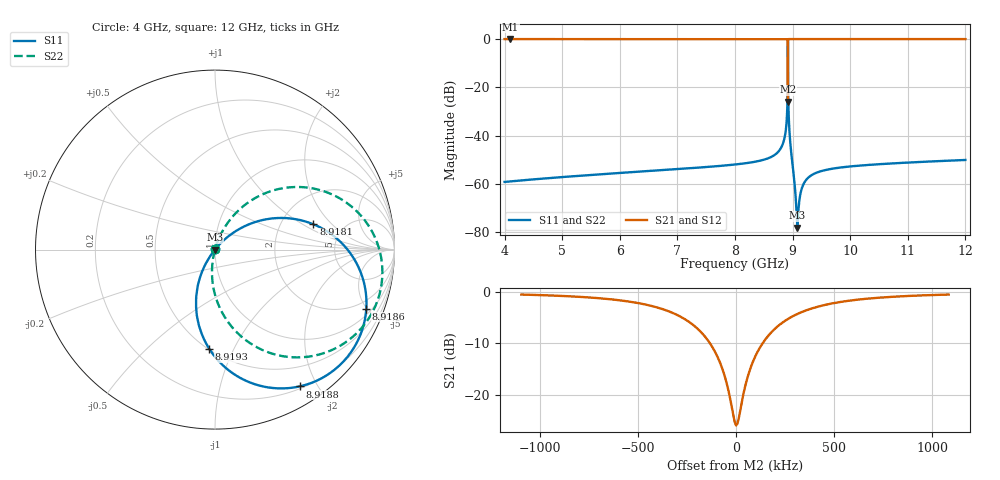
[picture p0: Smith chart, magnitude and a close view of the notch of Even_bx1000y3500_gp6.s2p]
! Sonnet Data File
! From: emgraph Version : 16.52
! From Emgraph Data: Resonator2
! Data File Written: 10/03/2017 17:29:13
!< HDATE 10/03/2017 16:44:45
!< MDATE 10/03/2017 16:44:45
!< PARAMS
!< gap = 6.0
!< Length = 400.0
!< END PARAMS
# GHZ S MA R 51.80000
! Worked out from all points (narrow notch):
!   918 points, 4 GHz to 12 GHz, reference 51.8 ohm
!   highest |S21| = 0.00 dB at 4.1 GHz (marker M1); lowest = -26.0 dB at 8.9187 GHz (marker M2)
!   notch at M2: 26.0 dB deep, 184 kHz wide at half that depth
!   lowest |S11| = -78.2 dB at 9.0824 GHz (marker M3), VSWR 1.00, Z = 51.8 + j0.00863 ohm
!   |S11| at or under -10 dB: start of sweep to 8.9175 GHz; 8.9198 GHz to end of sweep
!   |S22| runs from -78.3 to -0.4 dB; largest |S21 - S12| = 0
!   S11 on the Smith chart (normalised r, x): 4 GHz: 1.00, +0.00; 8.9181 GHz: 3.03, +1.26; 8.9186 GHz: 1.37, -4.96; 8.9188 GHz: 0.23, -1.77; 8.9193 GHz: 0.51, -0.81; 12 GHz: 1.00, +0.00
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4  0.001093 73.8  1 -12.2  1 -12.2  0.001093 81.7
!< P1 F=4.0 Eeff=(6.45006945 -2.975e-5) Z0=(51.809612 1.19486e-4) R=0.0 C=0.0
!< P2 F=4.0 Eeff=(6.45006945 -2.975e-5) Z0=(51.809612 1.19486e-4) R=0.0 C=0.0
4.1  0.001122 73.4  1 -12.6  1 -12.6  0.001122 81.5
5.35  0.001482 68.3  1 -16.4  1 -16.4  0.001482 79.0
6.675  0.001901 62.8  1 -20.4  1 -20.4  0.001901 76.3
8  0.002511 57.1  1 -24.5  1 -24.5  0.002511 73.9
8.823436  0.006399 52.1  1 -27.3  1 -27.3  0.006399 73.4
8.899697  0.02282 50.0  0.9997 -28.4  0.9997 -28.4  0.02282 73.0
8.913219  0.07323 46.7  0.997 -31.4  0.997 -31.4  0.07323 70.1
8.916868  0.2104 38.3  0.9753 -39.3  0.9753 -39.3  0.2104 61.8
8.918138  0.5661 14.4  0.8035 -61.6  0.8035 -61.6  0.5661 38.0
8.918561  0.9047 -21.3  0.3077 -90.5  0.3077 -90.5  0.9047 2.3
8.918691  0.9498 -38.8  0.05028 -30.4  0.05028 -30.4  0.9498 -15.2
8.918836  0.8961 -58.3  0.334 35.3  0.334 35.3  0.8961 -34.7
8.919261  0.5535 -93.3  0.813 6.4  0.813 6.4  0.5535 -69.7
8.920749  0.1834 -117.9  0.9812 -16.6  0.9812 -16.6  0.1834 -94.2
8.925083  0.05845 -125.6  0.9981 -23.9  0.9981 -23.9  0.05845 -101.7
8.942336  0.01412 -128.7  0.9999 -26.4  0.9999 -26.4  0.01412 -104.1
9.082364  0.0001232 137.4  1 -27.7  1 -27.7  0.0001218 -12.5
9.150547  0.0007352 59.7  1 -27.9  1 -27.9  0.0007354 64.5
9.35  0.001562 53.8  1 -28.6  1 -28.6  0.001563 69.1
10.675  0.002623 46.8  1 -32.7  1 -32.7  0.002623 67.9
12  0.003118 41.1  1 -36.8  1 -36.8  0.003119 65.4
